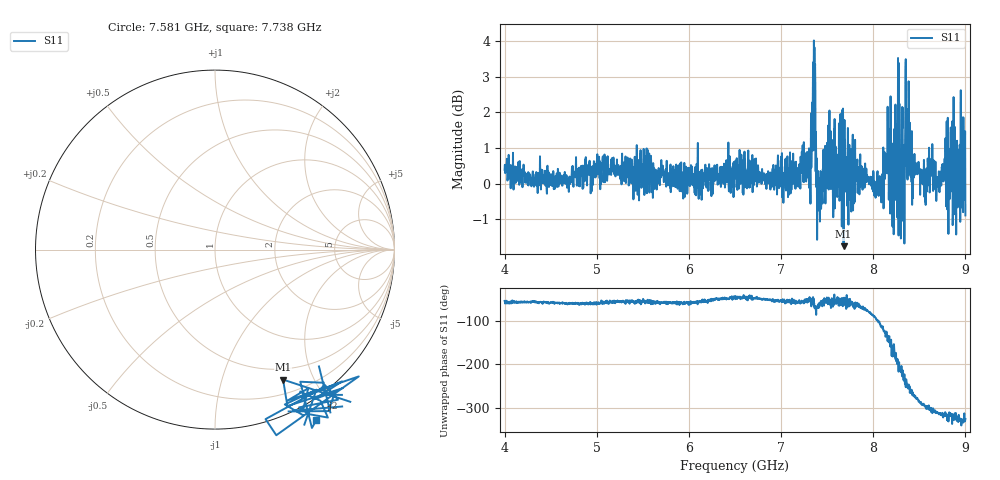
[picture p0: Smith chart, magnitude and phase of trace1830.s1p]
! Created with skrf 1.8.0 (http://scikit-rf.org).
# Hz S RI R 50.0
!freq ReS11 ImS11
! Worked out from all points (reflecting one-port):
!   1601 points, 4 GHz to 9 GHz, reference 50 ohm
!   lowest |S11| = -1.7 dB at 7.678 GHz (marker M1), VSWR 9.96, Z = 18.2 - j79.6 ohm
!   phase of S11 starts at -55 deg and turns -271 deg over the sweep
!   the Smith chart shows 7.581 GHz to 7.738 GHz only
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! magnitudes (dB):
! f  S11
! 4 GHz  0.4
! 4.625 GHz  -0.1
! 5.25 GHz  0.3
! 5.875 GHz  0.0
! 6.5 GHz  0.2
! 7.125 GHz  0.6
! 7.297 GHz  0.6
! 7.325 GHz  2.0
! 7.347 GHz  3.4
! 7.362 GHz  3.8
! 7.4 GHz  0.4
! 7.416 GHz  0.2
! 7.512 GHz  1.6
! 7.609 GHz  -0.4
! 7.647 GHz  1.4
! 7.678 GHz  -1.7
! 7.75 GHz  -0.4
! 8.081 GHz  -0.3
! 8.222 GHz  -1.4
! 8.259 GHz  1.7
! 8.312 GHz  2.1
! 8.334 GHz  1.1
! 8.347 GHz  1.6
! 8.375 GHz  1.3
! 8.425 GHz  0.4
! 8.556 GHz  -0.4
! 8.972 GHz  0.9
! 9 GHz  -0.9
